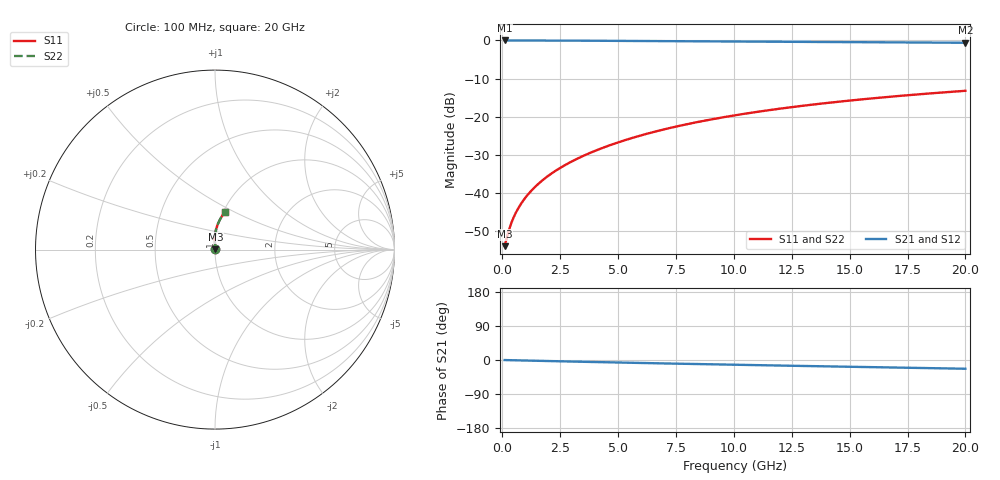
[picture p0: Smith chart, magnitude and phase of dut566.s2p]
! Touchstone file exported from HFSS 2024.1.0
!  File:  C:/UserFiles/LocalFiles/RDL_TSV_Batchsim/temp_RDL_top_566_1779681507.aedt
!  Generated:  12:00:55 PM May 25, 2026
!  Design:  RDL_top
!  Project:  temp_RDL_top_566_1779681507
!  Setup:  Setup1
!  Solution:  Sweep
! Variables:
!  dtsv = 10.80580581um
!  hbump = 3um
!  htsv = 58.17um
!  ldown = 100um
!  lrdl = 312.41um
!  p = 40
!  p1 = 51.45um
!  rhole = 1um
!  t = 450um
!  tdown = 3.915915916um
!  trdl = 2.73um
!  wdown = 15.38538539um
!  wrdl = 27.87um
# GHz S MA R 50.000000
! Terminal data exported
! Port[1] = Box2_T1
! Port[2] = Box2_T2
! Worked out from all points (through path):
!   200 points, 100 MHz to 20 GHz, reference 50 ohm
!   highest |S21| = -0.02 dB at 100 MHz (marker M1); lowest = -0.6 dB at 20 GHz (marker M2)
!   group delay of S21, straight-line fit = 3.16 ps
!   lowest |S11| = -53.9 dB at 100 MHz (marker M3), VSWR 1.00, Z = 50.2 + j0.097 ohm
!   |S11| at or under -10 dB: start of sweep to end of sweep
!   |S22| runs from -53.9 to -13.2 dB; largest |S21 - S12| = 3.6e-15
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0.1  0.002026 28.5  0.9982 -0.1  0.9982 -0.1  0.002026 28.5
! Gamma 0 0 0 0
! Port Impedance 50 0 50 0
0.3  0.003391 55.1  0.998 -0.4  0.998 -0.4  0.003392 55.1
0.4  0.00415 61.0  0.9978 -0.6  0.9978 -0.6  0.00415 61.0
0.5  0.004909 65.1  0.9977 -0.7  0.9977 -0.7  0.004909 65.1
0.6  0.005668 68.3  0.9976 -0.9  0.9976 -0.9  0.005668 68.3
0.8  0.007198 73.0  0.9973 -1.1  0.9973 -1.1  0.007198 73.0
1  0.008757 76.4  0.9971 -1.4  0.9971 -1.4  0.008757 76.4
1.2  0.01035 79.0  0.9968 -1.7  0.9968 -1.7  0.01035 79.0
1.7  0.01446 83.5  0.996 -2.4  0.996 -2.4  0.01446 83.5
2.2  0.01876 86.3  0.9949 -3.0  0.9949 -3.0  0.01876 86.3
2.8  0.02417 88.6  0.9934 -3.8  0.9934 -3.8  0.02417 88.6
3.5  0.03082 90.2  0.9913 -4.8  0.9913 -4.8  0.03082 90.2
4.2  0.03782 91.2  0.989 -5.7  0.989 -5.7  0.03782 91.2
5  0.04622 91.7  0.9861 -6.7  0.9861 -6.7  0.04622 91.7
5.9  0.05608 91.7  0.9826 -7.8  0.9826 -7.8  0.05609 91.7
6.8  0.06629 91.3  0.9791 -8.8  0.9791 -8.8  0.0663 91.3
8.4  0.085 89.9  0.9729 -10.7  0.9729 -10.7  0.08502 89.9
10.1  0.1052 87.9  0.9665 -12.6  0.9665 -12.6  0.1053 87.9
11.7  0.1243 85.8  0.9606 -14.3  0.9606 -14.3  0.1244 85.8
13.4  0.1444 83.5  0.9545 -16.2  0.9545 -16.2  0.1445 83.5
16.7  0.1825 79.1  0.9429 -19.7  0.9429 -19.7  0.1826 79.1
20  0.219 74.9  0.9313 -23.1  0.9313 -23.1  0.219 74.9
